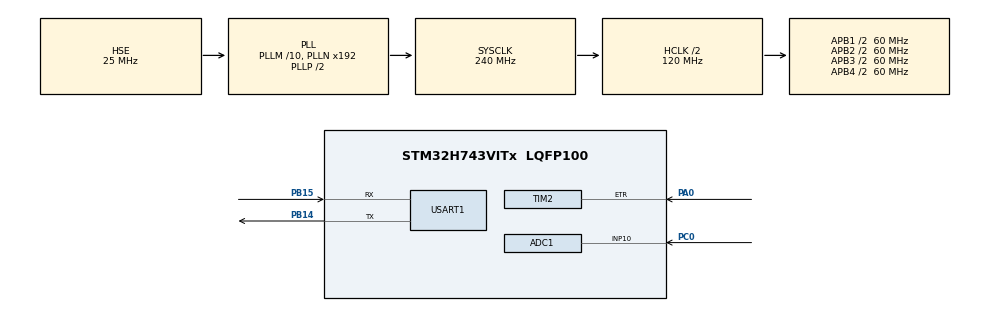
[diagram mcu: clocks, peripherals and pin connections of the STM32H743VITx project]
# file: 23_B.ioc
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ADC1.Channel-0\#ChannelRegularConversion=ADC_CHANNEL_10
ADC1.ClockPrescaler=ADC_CLOCK_ASYNC_DIV4
ADC1.NbrOfConversionFlag=1
ADC1.OffsetNumber-0\#ChannelRegularConversion=ADC_OFFSET_NONE
ADC1.OffsetSignedSaturation-0\#ChannelRegularConversion=DISABLE
ADC1.Rank-0\#ChannelRegularConversion=1
ADC1.SamplingTime-0\#ChannelRegularConversion=ADC_SAMPLETIME_1CYCLE_5
ADC1.master=1
Mcu.Family=STM32H7
Mcu.Name=STM32H743VITx
Mcu.Package=LQFP100
NVIC.PriorityGroup=NVIC_PRIORITYGROUP_4
NVIC.TIM1_UP_IRQn=true\:0\:0\:false\:false\:true\:true\:true\:true
NVIC.USART1_IRQn=true\:0\:0\:false\:false\:true\:true\:true\:true
PA0.Signal=S_TIM2_CH1_ETR
PA13\ (JTMS/SWDIO).Mode=Serial_Wire
PA13\ (JTMS/SWDIO).Signal=DEBUG_JTMS-SWDIO
PA14\ (JTCK/SWCLK).Mode=Serial_Wire
PA14\ (JTCK/SWCLK).Signal=DEBUG_JTCK-SWCLK
PB14.Mode=Asynchronous
PB14.Signal=USART1_TX
PB15.Mode=Asynchronous
PB15.Signal=USART1_RX
PC0.Signal=ADCx_INP10
PH0-OSC_IN\ (PH0).Mode=HSE-External-Oscillator
PH0-OSC_IN\ (PH0).Signal=RCC_OSC_IN
PH1-OSC_OUT\ (PH1).Mode=HSE-External-Oscillator
PH1-OSC_OUT\ (PH1).Signal=RCC_OSC_OUT
ProjectManager.HeapSize=0x200
ProjectManager.StackSize=0x400
ProjectManager.TargetToolchain=MDK-ARM V5
RCC.ADCFreq_Value=26847826.086956523
RCC.APB1Freq_Value=60000000
RCC.APB2Freq_Value=60000000
RCC.APB3Freq_Value=60000000
RCC.APB4Freq_Value=60000000
RCC.CortexFreq_Value=240000000
RCC.D1PPRE=RCC_APB3_DIV2
RCC.D2PPRE1=RCC_APB1_DIV2
RCC.D2PPRE2=RCC_APB2_DIV2
RCC.D3PPRE=RCC_APB4_DIV2
RCC.DIVM1=10
RCC.DIVM2=20
RCC.DIVN1=192
RCC.DIVN2=494
RCC.DIVP2=23
RCC.DIVR1=3
RCC.EnbaleCSS=true
RCC.HCLKFreq_Value=120000000
RCC.HPRE=RCC_HCLK_DIV2
RCC.PLL2FRACN=0
RCC.PLL3FRACN=0
RCC.PLLFRACN=0
RCC.PLLSourceVirtual=RCC_PLLSOURCE_HSE
RCC.SYSCLKFreq_VALUE=240000000
RCC.SYSCLKSource=RCC_SYSCLKSOURCE_PLLCLK
RCC.USBFreq_Value=240000000
SH.ADCx_INP10.0=ADC1_INP10,IN10-Single-Ended
SH.S_TIM2_CH1_ETR.0=TIM2_ETR,ClockSourceETR_Mode2
TIM1.AutoReloadPreload=TIM_AUTORELOAD_PRELOAD_ENABLE
TIM1.ClockDivision=TIM_CLOCKDIVISION_DIV2
TIM1.Period=50000-1
TIM1.Prescaler=1199
USART1.VirtualMode-Asynchronous=VM_ASYNC
VP_TIM1_VS_ClockSourceINT.Mode=Internal
board=custom

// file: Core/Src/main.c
/* USER CODE BEGIN Header */
/**
  ******************************************************************************
  * @file           : main.c
  * @brief          : Main program body
  ******************************************************************************
  * @attention
  *
  * Copyright (c) 2025 STMicroelectronics.
  * All rights reserved.
  *
  * This software is licensed under terms that can be found in the LICENSE file
  * in the root directory of this software component.
  * If no LICENSE file comes with this software, it is provided AS-IS.
  *
  ******************************************************************************
  */
/* USER CODE END Header */
#include "main.h"
#include "adc.h"
#include "tim.h"
#include "usart.h"
#include "gpio.h"

/* USER CODE BEGIN Includes */
#include "stdio.h"
/* USER CODE END Includes */

/* USER CODE BEGIN PTD */
uint8_t RX_dat;
uint8_t flag=0;
uint8_t num=0;
/* USER CODE END PTD */

void SystemClock_Config(void);
/* USER CODE BEGIN PFP */
int getfrequence(void);
uint32_t getvalue(void);
/* USER CODE END PFP */

/* USER CODE BEGIN 0 */
int count,time,f;
uint32_t value;
/* USER CODE END 0 */

int main(void)
{

  /* MCU Configuration--------------------------------------------------------*/

  /* Reset of all peripherals, Initializes the Flash interface and the Systick. */
  HAL_Init();

  /* Configure the system clock */
  SystemClock_Config();

  /* Initialize all configured peripherals */
  MX_GPIO_Init();
  MX_TIM1_Init();
  MX_TIM2_Init();
  MX_ADC1_Init();
  MX_USART1_UART_Init();
  /* USER CODE BEGIN 2 */
  HAL_TIM_Base_Start_IT(&htim1);
	HAL_UART_Receive_IT(&huart1,&RX_dat,1);
//	USART1PutString("start");
	printf("\xff\xff\xfft4.txt=\"正在检测\"\xff\xff\xff");
  /* USER CODE END 2 */

  /* Infinite loop */
  /* USER CODE BEGIN WHILE */
  while (1)
  {
		if(flag==1&&num==0)
		{
			printf("length mode\r\n");
			printf("\xff\xff\xfft4.txt=\"正在检测\"\xff\xff\xff");
			HAL_Delay(1000);
			float length=100.78;//长度值
			printf("\xff\xff\xffn0.val=%d\xff\xff\xff",(int)length);
		  printf("\xff\xff\xffn1.val=%d\xff\xff\xff",(int)((length-(int)length)*10));
			printf("\xff\xff\xfft4.txt=\"结果保持\"\xff\xff\xff");
			num=1;
		}
		else if(flag==2&&num==0)
		{
			printf("load mode\r\n");
			printf("\xff\xff\xfft4.txt=\"正在检测\"\xff\xff\xff");
			HAL_Delay(1000);
			float Rvalue=22.3;//电阻
			printf("\xff\xff\xfft6.txt=\"电阻\"\xff\xff\xff");
			printf("\xff\xff\xffn2.val=%d\xff\xff\xff",(int)Rvalue);
		  printf("\xff\xff\xffn3.val=%d\xff\xff\xff",(int)((Rvalue-(int)Rvalue)*10));
			printf("\xff\xff\xfft9.txt=\"欧\"\xff\xff\xff");
			printf("\xff\xff\xfft4.txt=\"结果保持\"\xff\xff\xff");
			HAL_Delay(1000);
			float Cvalue=167;//电容
			printf("\xff\xff\xfft6.txt=\"电容\"\xff\xff\xff");
			printf("\xff\xff\xffn2.val=%d\xff\xff\xff",(int)Cvalue);
			printf("\xff\xff\xffn3.val=%d\xff\xff\xff",(int)((Cvalue-(int)Cvalue)*10));
			printf("\xff\xff\xfft9.txt=\"pF\"\xff\xff\xff");
			printf("\xff\xff\xfft4.txt=\"结果保持\"\xff\xff\xff");
			num=1;
		}
    /* USER CODE END WHILE */

    /* USER CODE BEGIN 3 */
	//f=getfrequence();
	//value=getvalue();
  }
  /* USER CODE END 3 */
}

void SystemClock_Config(void)
{
  RCC_OscInitTypeDef RCC_OscInitStruct = {0};
  RCC_ClkInitTypeDef RCC_ClkInitStruct = {0};

  /** Supply configuration update enable
  */
  HAL_PWREx_ConfigSupply(PWR_LDO_SUPPLY);

  /** Configure the main internal regulator output voltage
  */
  __HAL_PWR_VOLTAGESCALING_CONFIG(PWR_REGULATOR_VOLTAGE_SCALE2);

  while(!__HAL_PWR_GET_FLAG(PWR_FLAG_VOSRDY)) {}

  /** Initializes the RCC Oscillators according to the specified parameters
  * in the RCC_OscInitTypeDef structure.
  */
  RCC_OscInitStruct.OscillatorType = RCC_OSCILLATORTYPE_HSE;
  RCC_OscInitStruct.HSEState = RCC_HSE_ON;
  RCC_OscInitStruct.PLL.PLLState = RCC_PLL_ON;
  RCC_OscInitStruct.PLL.PLLSource = RCC_PLLSOURCE_HSE;
  RCC_OscInitStruct.PLL.PLLM = 10;
  RCC_OscInitStruct.PLL.PLLN = 192;
  RCC_OscInitStruct.PLL.PLLP = 2;
  RCC_OscInitStruct.PLL.PLLQ = 2;
  RCC_OscInitStruct.PLL.PLLR = 3;
  RCC_OscInitStruct.PLL.PLLRGE = RCC_PLL1VCIRANGE_1;
  RCC_OscInitStruct.PLL.PLLVCOSEL = RCC_PLL1VCOWIDE;
  RCC_OscInitStruct.PLL.PLLFRACN = 0;
  if (HAL_RCC_OscConfig(&RCC_OscInitStruct) != HAL_OK)
  {
    Error_Handler();
  }

  /** Initializes the CPU, AHB and APB buses clocks
  */
  RCC_ClkInitStruct.ClockType = RCC_CLOCKTYPE_HCLK|RCC_CLOCKTYPE_SYSCLK
                              |RCC_CLOCKTYPE_PCLK1|RCC_CLOCKTYPE_PCLK2
                              |RCC_CLOCKTYPE_D3PCLK1|RCC_CLOCKTYPE_D1PCLK1;
  RCC_ClkInitStruct.SYSCLKSource = RCC_SYSCLKSOURCE_PLLCLK;
  RCC_ClkInitStruct.SYSCLKDivider = RCC_SYSCLK_DIV1;
  RCC_ClkInitStruct.AHBCLKDivider = RCC_HCLK_DIV2;
  RCC_ClkInitStruct.APB3CLKDivider = RCC_APB3_DIV2;
  RCC_ClkInitStruct.APB1CLKDivider = RCC_APB1_DIV2;
  RCC_ClkInitStruct.APB2CLKDivider = RCC_APB2_DIV2;
  RCC_ClkInitStruct.APB4CLKDivider = RCC_APB4_DIV2;

  if (HAL_RCC_ClockConfig(&RCC_ClkInitStruct, FLASH_LATENCY_2) != HAL_OK)
  {
    Error_Handler();
  }

  /** Enables the Clock Security System
  */
  HAL_RCC_EnableCSS();
}

/* USER CODE BEGIN 4 */
int getfrequence(void)
{
	time=0;
	HAL_TIM_Base_Start(&htim1);
	HAL_TIM_Base_Start(&htim2);
	while(1)
	{
	 if(time==2)break;
	}
	int fre=count*2;
	return fre;

}
uint32_t getvalue(void)
{
	uint32_t a;
	for(int i=0;i<10;i++)
	{
		HAL_ADC_Start(&hadc1);
		value=HAL_ADC_GetValue(&hadc1);
		a=a+value;
	}
	a=a/10;
	return a;
}
void HAL_TIM_PeriodElapsedCallback(TIM_HandleTypeDef *htim)
{
	time++;
	if(time==1)TIM2->CNT=0;
	if(time==2)
	{
		count=TIM2->CNT;
		HAL_TIM_Base_Stop(&htim1);
		HAL_TIM_Base_Stop(&htim2);
	}
}
void HAL_UART_RxCpltCallback(UART_HandleTypeDef *huart)
{
	 if(huart->Instance == USART1)
	 {
			if(RX_dat == '1')
			{
				flag = 1;
				num=0;
				HAL_UART_Receive_IT(&huart1,&RX_dat,1);

			}
			else if(RX_dat == '2')
			{
				flag = 2;
				num =0;
				HAL_UART_Receive_IT(&huart1,&RX_dat,1);

			}
			else HAL_UART_Receive_IT(&huart1,&RX_dat,1);
	}
}
/* USER CODE END 4 */

void Error_Handler(void)
{
  __disable_irq();
  while (1)
  {
  }
}
